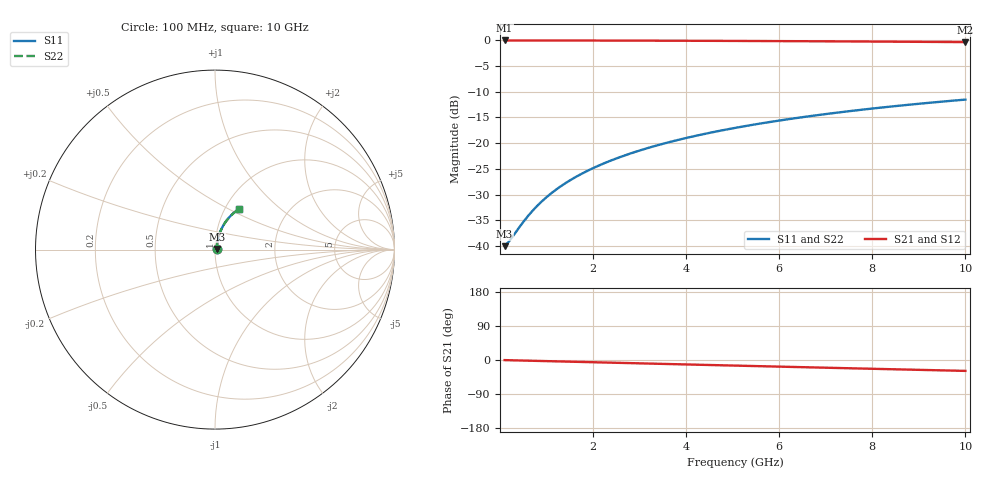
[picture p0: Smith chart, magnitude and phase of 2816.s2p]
# Hz S RI R 50.00
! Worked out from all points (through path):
!   100 points, 100 MHz to 10 GHz, reference 50 ohm
!   highest |S21| = -0.08 dB at 100 MHz (marker M1); lowest = -0.4 dB at 10 GHz (marker M2)
!   group delay of S21, straight-line fit = 8 ps
!   lowest |S11| = -40.0 dB at 100 MHz (marker M3), VSWR 1.02, Z = 51 + j0.283 ohm
!   |S11| at or under -10 dB: start of sweep to end of sweep
!   |S22| runs from -40.0 to -11.6 dB; largest |S21 - S12| = 0
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1e8  0.00963 0.00278  0.9904 -0.00509  0.9904 -0.00509  0.00963 0.00278
2e8  0.00974 0.00555  0.9902 -0.0102  0.9902 -0.0102  0.00974 0.00555
5e8  0.0102 0.0139  0.9898 -0.0254  0.9898 -0.0254  0.0102 0.0139
6e8  0.0103 0.0166  0.9896 -0.0305  0.9896 -0.0305  0.0103 0.0166
7e8  0.0105 0.0194  0.9893 -0.0356  0.9893 -0.0356  0.0105 0.0194
9e8  0.011 0.0249  0.9887 -0.0457  0.9887 -0.0457  0.011 0.0249
1.1e9  0.0117 0.0304  0.988 -0.0559  0.988 -0.0559  0.0117 0.0304
1.3e9  0.0124 0.0359  0.9871 -0.066  0.9871 -0.066  0.0124 0.0359
1.5e9  0.0132 0.0414  0.9862 -0.0761  0.9862 -0.0761  0.0132 0.0414
1.8e9  0.0146 0.0496  0.9845 -0.0912  0.9845 -0.0912  0.0146 0.0496
2.1e9  0.0163 0.0577  0.9824 -0.1063  0.9824 -0.1063  0.0163 0.0577
2.5e9  0.019 0.0684  0.9793 -0.1262  0.9793 -0.1262  0.019 0.0684
2.9e9  0.022 0.079  0.9757 -0.1461  0.9757 -0.1461  0.022 0.079
3.4e9  0.0264 0.0921  0.9704 -0.1707  0.9704 -0.1707  0.0264 0.0921
3.8e9  0.0304 0.1023  0.9656 -0.1902  0.9656 -0.1902  0.0304 0.1023
4.2e9  0.0349 0.1123  0.9603 -0.2095  0.9603 -0.2095  0.0349 0.1123
5.1e9  0.0462 0.1341  0.9467 -0.2521  0.9467 -0.2521  0.0462 0.1341
5.9e9  0.0578 0.1524  0.9327 -0.289  0.9327 -0.289  0.0578 0.1524
6.7e9  0.0707 0.1696  0.917 -0.3247  0.917 -0.3247  0.0707 0.1696
7.5e9  0.0849 0.1856  0.8997 -0.3593  0.8997 -0.3593  0.0849 0.1856
8.4e9  0.1022 0.202  0.8784 -0.3967  0.8784 -0.3967  0.1022 0.202
1e10  0.1357 0.2269  0.8367 -0.4589  0.8367 -0.4589  0.1357 0.2269
